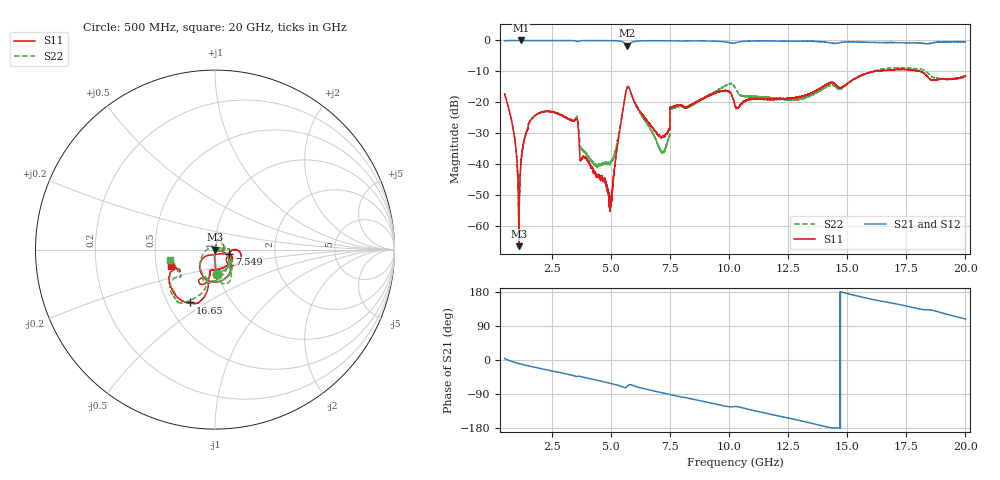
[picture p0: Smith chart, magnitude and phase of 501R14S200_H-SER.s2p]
!{501R14S200}
!Johanson Technology Inc.
!www.johansontechnology.com
!Test Board Conditions:
!Substrate Type  RO4350B
!Substrate Thickness  20 mil
!Substrate Dk  3.66
!TL Type: GCPW
!TL Trace Width  36 mil
!TL Gap  12 mil
!Electrode orientation  Horizontal
!DUT TOPOLOGY	SERIES
!Mounting Pad LxW  26x36 mil
! Created Wed Mar 11 16:04:45 2020
# mhz S ma R 50
! 2 Port Network Data from SP1.SP block
! freq  magS11  angS11  magS21  angS21  magS12  angS12  magS22  angS22
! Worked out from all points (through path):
!   19501 points, 500 MHz to 20 GHz, reference 50 ohm
!   highest |S21| = -0.01 dB at 1.191 GHz (marker M1); lowest = -1.7 dB at 5.695 GHz (marker M2)
!   group delay of S21, straight-line fit = 35.1 ps
!   lowest |S11| = -66.7 dB at 1.105 GHz (marker M3), VSWR 1.00, Z = 50 - j0.0169 ohm
!   |S11| at or under -10 dB: start of sweep to 16.14 GHz; 16.14322 GHz to 16.14558 GHz (2.361 MHz wide, 0.0146 % of centre); 18.08 GHz to end of sweep (the widest 3 of 11)
!   |S22| runs from -62.0 to -8.9 dB; largest |S21 - S12| = 0.02
!   S11 on the Smith chart (normalised r, x): 500 MHz: 0.98, -0.27; 7.549 GHz: 1.17, -0.06; 16.65 GHz: 0.65, -0.43; 20 GHz: 0.60, -0.12
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500  0.1366 -85.5  0.9882 3.8  0.988 3.9  0.1371 -85.4
872  0.03547 -93.0  0.9974 -5.1  0.9978 -5.1  0.03515 -94.0
1105  0.0004649 -21.3  0.9979 -9.2  0.9972 -9.3  0.0009998 -9.5
1191  0.01032 76.1  0.9993 -10.7  0.9979 -10.6  0.01075 74.1
1286  0.02015 77.3  0.9983 -12.2  0.9972 -12.1  0.02091 74.8
1512  0.04487 74.4  0.9971 -15.5  0.9971 -15.5  0.04478 72.8
2096  0.06906 66.0  0.9955 -23.6  0.9943 -23.5  0.06948 66.4
3514  0.05263 36.4  0.984 -42.8  0.984 -42.8  0.05545 32.4
3750  0.01207 39.8  0.9903 -44.1  0.9904 -44.1  0.01749 4.7
4347  0.007176 101.6  0.9946 -52.6  0.9948 -52.5  0.009828 -32.6
4983  0.002266 77.9  0.9921 -61.5  0.9919 -61.5  0.01042 -53.5
5199  0.01191 -1.0  0.9878 -65.0  0.9872 -64.9  0.01675 -23.4
5695  0.178 -79.6  0.8204 -69.1  0.8206 -69.1  0.1749 -75.4
7000  0.02923 -107.4  0.9909 -84.3  0.9917 -84.3  0.01992 133.2
7313  0.03012 -61.7  0.9896 -88.6  0.9911 -88.6  0.01863 50.0
7549  0.08386 -16.8  0.9866 -91.9  0.9872 -91.8  0.07814 2.9
9747  0.1531 -17.8  0.9538 -120.5  0.9528 -120.5  0.1754 -58.7
10250  0.08947 -44.2  0.9113 -122.6  0.9106 -122.6  0.1723 -81.7
13500  0.1417 -102.3  0.9684 -167.2  0.9729 -167.2  0.1307 -62.8
16650  0.3249 -115.1  0.9236 153.2  0.9145 152.7  0.3512 -121.7
16750  0.33 -116.5  0.9237 151.9  0.9176 151.5  0.3537 -122.3
20000  0.2638 -159.2  0.946 108.2  0.9467 108.4  0.2579 -166.8
